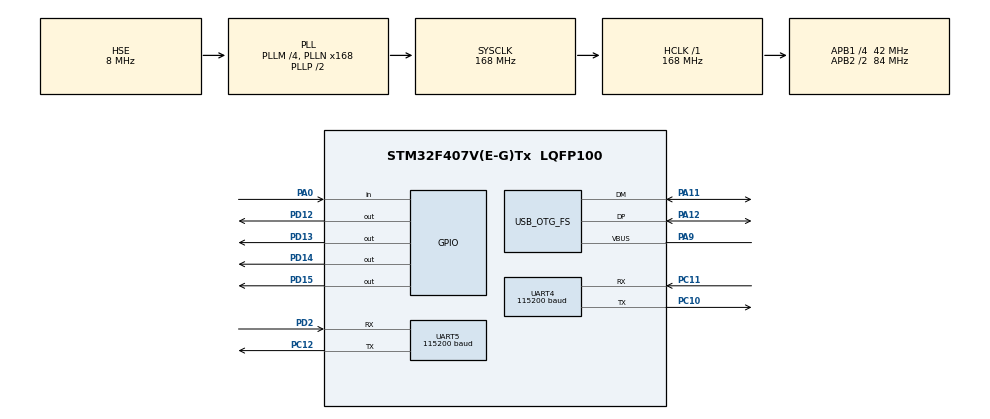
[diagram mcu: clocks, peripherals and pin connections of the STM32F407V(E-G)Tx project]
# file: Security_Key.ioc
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Mcu.Family=STM32F4
Mcu.Name=STM32F407V(E-G)Tx
Mcu.Package=LQFP100
NVIC.OTG_FS_IRQn=true\:0\:0\:false\:false\:true\:false\:true\:true
NVIC.PriorityGroup=NVIC_PRIORITYGROUP_4
NVIC.UART5_IRQn=true\:0\:0\:false\:false\:true\:true\:true\:true
PA0-WKUP.Signal=GPIO_Input
PA11.Mode=Device_Only
PA11.Signal=USB_OTG_FS_DM
PA12.Mode=Device_Only
PA12.Signal=USB_OTG_FS_DP
PA9.Mode=Activate_VBUS
PA9.Signal=USB_OTG_FS_VBUS
PC10.Mode=Asynchronous
PC10.Signal=UART4_TX
PC11.Mode=Asynchronous
PC11.Signal=UART4_RX
PC12.Mode=Asynchronous
PC12.Signal=UART5_TX
PD12.Signal=GPIO_Output
PD13.Signal=GPIO_Output
PD14.Signal=GPIO_Output
PD15.Signal=GPIO_Output
PD2.Mode=Asynchronous
PD2.Signal=UART5_RX
PH0-OSC_IN.Mode=HSE-External-Oscillator
PH0-OSC_IN.Signal=RCC_OSC_IN
PH1-OSC_OUT.Mode=HSE-External-Oscillator
PH1-OSC_OUT.Signal=RCC_OSC_OUT
ProjectManager.HeapSize=0x200
ProjectManager.StackSize=0x400
ProjectManager.TargetToolchain=STM32CubeIDE
RCC.48MHZClocksFreq_Value=48000000
RCC.AHBFreq_Value=168000000
RCC.APB1CLKDivider=RCC_HCLK_DIV4
RCC.APB1Freq_Value=42000000
RCC.APB1TimFreq_Value=84000000
RCC.APB2CLKDivider=RCC_HCLK_DIV2
RCC.APB2Freq_Value=84000000
RCC.APB2TimFreq_Value=168000000
RCC.CortexFreq_Value=168000000
RCC.HCLKFreq_Value=168000000
RCC.HSE_VALUE=8000000
RCC.HSI_VALUE=16000000
RCC.LSE_VALUE=32768
RCC.PLLM=4
RCC.PLLN=168
RCC.PLLQ=7
RCC.SYSCLKFreq_VALUE=168000000
RCC.SYSCLKSource=RCC_SYSCLKSOURCE_PLLCLK
RCC.VCOOutputFreq_Value=336000000
UART4.BaudRate=115200
UART4.VirtualMode=Asynchronous
UART5.BaudRate=115200
UART5.OverSampling=UART_OVERSAMPLING_16
UART5.VirtualMode=Asynchronous
USB_DEVICE.CLASS_NAME_FS=CUSTOM_HID
USB_DEVICE.MANUFACTURER_STRING-CUSTOM_HID_FS=Group5
USB_DEVICE.PRODUCT_STRING_CUSTOMHID_FS=Security Key
USB_DEVICE.USBD_CUSTOMHID_OUTREPORT_BUF_SIZE-CUSTOM_HID_FS=64
USB_DEVICE.USBD_CUSTOM_HID_REPORT_DESC_SIZE-CUSTOM_HID_FS=98
USB_DEVICE.USBD_SELF_POWERED-CUSTOM_HID_FS=0
USB_DEVICE.VID-CUSTOM_HID_FS=2153
USB_DEVICE.VirtualMode-CUSTOM_HID_FS=CustomHid
USB_DEVICE.VirtualModeFS=Custom_Hid_FS
USB_OTG_FS.VirtualMode=Device_Only
VP_RNG_VS_RNG.Mode=RNG_Activate
VP_USB_DEVICE_VS_USB_DEVICE_CUSTOM_HID_FS.Mode=CUSTOM_HID_FS
board=custom

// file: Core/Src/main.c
/* USER CODE BEGIN Header */
/**
  ******************************************************************************
  * @file           : main.c
  * @brief          : Main program body
  ******************************************************************************
  * @attention
  *
  * Copyright (c) 2024 STMicroelectronics.
  * All rights reserved.
  *
  * This software is licensed under terms that can be found in the LICENSE file
  * in the root directory of this software component.
  * If no LICENSE file comes with this software, it is provided AS-IS.
  *
  ******************************************************************************
  */
/* USER CODE END Header */
#include "main.h"
#include "usb_device.h"

/* USER CODE BEGIN Includes */
#include "usbd_custom_hid_if.h"
#include <stdio.h>
#include <string.h>
#include "usb_operations.h"
#include "stm32f4xx_ll_usb.h"
#include "stm32f4xx_hal_def.h"
#include "usb_operations.h"
#include "FingerPrint_Module.h"
//#include "wolfcrypt/rsa.h"
/* USER CODE END Includes */

RNG_HandleTypeDef hrng;

UART_HandleTypeDef huart4;
UART_HandleTypeDef huart5;

/* USER CODE BEGIN PV */
uint8_t endpoint_num;
extern PCD_HandleTypeDef hpcd_USB_OTG_FS;
extern function_handler Operations[];
extern USB_OPERATIONS operation;
uint8_t *report_buffer = NULL;

extern Report IN_;
extern uint8_t receive_flag;
uint8_t data;
extern uint8_t receive_buff[sizeof(Packet)];

/* USER CODE END PV */

void SystemClock_Config(void);
static void MX_GPIO_Init(void);
static void MX_UART4_Init(void);
static void MX_UART5_Init(void);
static void MX_RNG_Init(void);
/* USER CODE BEGIN PFP */
int8_t send_report(uint8_t* report, uint16_t len);
extern void Open_Fingerprint_Module(void);
/* USER CODE END PFP */

int main(void)
{

  /* MCU Configuration--------------------------------------------------------*/

  /* Reset of all peripherals, Initializes the Flash interface and the Systick. */
  HAL_Init();

  /* Configure the system clock */
  SystemClock_Config();

  /* Initialize all configured peripherals */
  MX_GPIO_Init();
  MX_USB_DEVICE_Init();
  MX_UART4_Init();
  MX_UART5_Init();
  MX_RNG_Init();
  /* USER CODE BEGIN 2 */
  Open_Fingerprint_Module();
  HAL_UART_Receive_IT(&huart5, (uint8_t*)&data, 1);
  /* USER CODE END 2 */

  /* Infinite loop */
  /* USER CODE BEGIN WHILE */
  while (1)
  {

//	  printf("Operation = %d\r\n", operation);
	  Operations[operation]();
	  HAL_Delay(50);

    /* USER CODE END WHILE */

  }
}

void SystemClock_Config(void)
{
  RCC_OscInitTypeDef RCC_OscInitStruct = {0};
  RCC_ClkInitTypeDef RCC_ClkInitStruct = {0};

  /** Configure the main internal regulator output voltage
  */
  __HAL_RCC_PWR_CLK_ENABLE();
  __HAL_PWR_VOLTAGESCALING_CONFIG(PWR_REGULATOR_VOLTAGE_SCALE1);

  /** Initializes the RCC Oscillators according to the specified parameters
  * in the RCC_OscInitTypeDef structure.
  */
  RCC_OscInitStruct.OscillatorType = RCC_OSCILLATORTYPE_HSE;
  RCC_OscInitStruct.HSEState = RCC_HSE_ON;
  RCC_OscInitStruct.PLL.PLLState = RCC_PLL_ON;
  RCC_OscInitStruct.PLL.PLLSource = RCC_PLLSOURCE_HSE;
  RCC_OscInitStruct.PLL.PLLM = 4;
  RCC_OscInitStruct.PLL.PLLN = 168;
  RCC_OscInitStruct.PLL.PLLP = RCC_PLLP_DIV2;
  RCC_OscInitStruct.PLL.PLLQ = 7;
  if (HAL_RCC_OscConfig(&RCC_OscInitStruct) != HAL_OK)
  {
    Error_Handler();
  }

  /** Initializes the CPU, AHB and APB buses clocks
  */
  RCC_ClkInitStruct.ClockType = RCC_CLOCKTYPE_HCLK|RCC_CLOCKTYPE_SYSCLK
                              |RCC_CLOCKTYPE_PCLK1|RCC_CLOCKTYPE_PCLK2;
  RCC_ClkInitStruct.SYSCLKSource = RCC_SYSCLKSOURCE_PLLCLK;
  RCC_ClkInitStruct.AHBCLKDivider = RCC_SYSCLK_DIV1;
  RCC_ClkInitStruct.APB1CLKDivider = RCC_HCLK_DIV4;
  RCC_ClkInitStruct.APB2CLKDivider = RCC_HCLK_DIV2;

  if (HAL_RCC_ClockConfig(&RCC_ClkInitStruct, FLASH_LATENCY_5) != HAL_OK)
  {
    Error_Handler();
  }
}

static void MX_RNG_Init(void)
{

  hrng.Instance = RNG;
  if (HAL_RNG_Init(&hrng) != HAL_OK)
  {
    Error_Handler();
  }

}

static void MX_UART4_Init(void)
{

  huart4.Instance = UART4;
  huart4.Init.BaudRate = 115200;
  huart4.Init.WordLength = UART_WORDLENGTH_8B;
  huart4.Init.StopBits = UART_STOPBITS_1;
  huart4.Init.Parity = UART_PARITY_NONE;
  huart4.Init.Mode = UART_MODE_TX_RX;
  huart4.Init.HwFlowCtl = UART_HWCONTROL_NONE;
  huart4.Init.OverSampling = UART_OVERSAMPLING_16;
  if (HAL_UART_Init(&huart4) != HAL_OK)
  {
    Error_Handler();
  }

}

static void MX_UART5_Init(void)
{

  huart5.Instance = UART5;
  huart5.Init.BaudRate = 115200;
  huart5.Init.WordLength = UART_WORDLENGTH_8B;
  huart5.Init.StopBits = UART_STOPBITS_1;
  huart5.Init.Parity = UART_PARITY_NONE;
  huart5.Init.Mode = UART_MODE_TX_RX;
  huart5.Init.HwFlowCtl = UART_HWCONTROL_NONE;
  huart5.Init.OverSampling = UART_OVERSAMPLING_16;
  if (HAL_UART_Init(&huart5) != HAL_OK)
  {
    Error_Handler();
  }

}

static void MX_GPIO_Init(void)
{
  GPIO_InitTypeDef GPIO_InitStruct = {0};

  /* GPIO Ports Clock Enable */
  __HAL_RCC_GPIOH_CLK_ENABLE();
  __HAL_RCC_GPIOA_CLK_ENABLE();
  __HAL_RCC_GPIOD_CLK_ENABLE();
  __HAL_RCC_GPIOC_CLK_ENABLE();

  /*Configure GPIO pin Output Level */
  HAL_GPIO_WritePin(GPIOD, GPIO_PIN_12|GPIO_PIN_13|GPIO_PIN_14|GPIO_PIN_15, GPIO_PIN_RESET);

  /*Configure GPIO pin : PA0 */
  GPIO_InitStruct.Pin = GPIO_PIN_0;
  GPIO_InitStruct.Mode = GPIO_MODE_INPUT;
  GPIO_InitStruct.Pull = GPIO_NOPULL;
  HAL_GPIO_Init(GPIOA, &GPIO_InitStruct);

  /*Configure GPIO pins : PD12 PD13 PD14 PD15 */
  GPIO_InitStruct.Pin = GPIO_PIN_12|GPIO_PIN_13|GPIO_PIN_14|GPIO_PIN_15;
  GPIO_InitStruct.Mode = GPIO_MODE_OUTPUT_PP;
  GPIO_InitStruct.Pull = GPIO_NOPULL;
  GPIO_InitStruct.Speed = GPIO_SPEED_FREQ_LOW;
  HAL_GPIO_Init(GPIOD, &GPIO_InitStruct);

}

/* USER CODE BEGIN 4 */

/*
 * To redirect write to uart4
 */
int _write(int file, char *ptr, int len)
{
#ifdef DEBUG //this is defined if we are using DEBUG build configuration
	HAL_UART_Transmit(&huart5, (uint8_t*)ptr, len, 100);
	return len;
#else //if not defined don't send any data
	return 0;
#endif
}

void HAL_UART_RxCpltCallback(UART_HandleTypeDef *huart)
{
	if(receive_flag == 8)
	{
		receive_flag = 0;
	}
//	printf("In interrupt %d %x\r\n", receive_flag, data);
	HAL_UART_Receive_IT(huart, (uint8_t*)&data, 1);
	if((receive_flag == 0 || receive_flag == 7) && data!=0xF5)
	{
		HAL_GPIO_TogglePin(GPIOD, GPIO_PIN_12);
		return;
	}

	receive_buff[receive_flag] = data;
	receive_flag += 1;
}

/* USER CODE END 4 */

void Error_Handler(void)
{
  __disable_irq();
  while (1)
  {
  }
}
